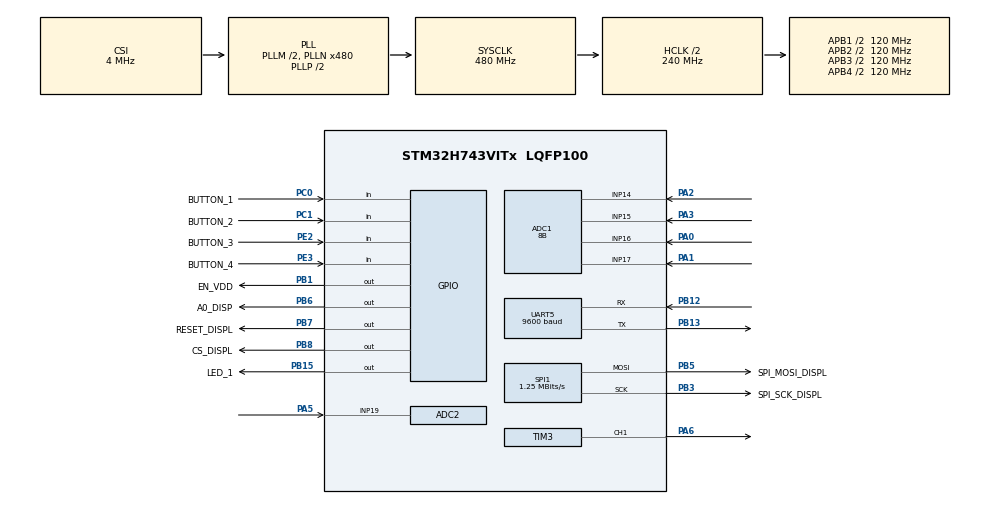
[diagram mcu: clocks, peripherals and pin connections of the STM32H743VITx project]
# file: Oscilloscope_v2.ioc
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ADC1.Channel-0\#ChannelRegularConversion=ADC_CHANNEL_14
ADC1.ClockPrescaler=ADC_CLOCK_ASYNC_DIV2
ADC1.ConversionDataManagement=ADC_CONVERSIONDATA_DMA_CIRCULAR
ADC1.Rank-0\#ChannelRegularConversion=1
ADC1.Resolution=ADC_RESOLUTION_8B
ADC1.SamplingTime-0\#ChannelRegularConversion=ADC_SAMPLETIME_1CYCLE_5
ADC1.master=1
ADC2.Channel-0\#ChannelRegularConversion=ADC_CHANNEL_19
ADC2.ClockPrescaler=ADC_CLOCK_ASYNC_DIV2
ADC2.ContinuousConvMode=ENABLE
ADC2.ConversionDataManagement=ADC_CONVERSIONDATA_DMA_ONESHOT
ADC2.NbrOfConversionFlag=1
ADC2.OffsetNumber-0\#ChannelRegularConversion=ADC_OFFSET_NONE
ADC2.OffsetSignedSaturation-0\#ChannelRegularConversion=DISABLE
ADC2.Rank-0\#ChannelRegularConversion=1
ADC2.Resolution=ADC_RESOLUTION_8B
ADC2.SamplingTime-0\#ChannelRegularConversion=ADC_SAMPLETIME_1CYCLE_5
Dma.ADC1.0.Direction=DMA_PERIPH_TO_MEMORY
Dma.ADC1.0.EventEnable=DISABLE
Dma.ADC1.0.FIFOMode=DMA_FIFOMODE_DISABLE
Dma.ADC1.0.Instance=DMA1_Stream0
Dma.ADC1.0.MemDataAlignment=DMA_MDATAALIGN_HALFWORD
Dma.ADC1.0.MemInc=DMA_MINC_ENABLE
Dma.ADC1.0.Mode=DMA_NORMAL
Dma.ADC1.0.PeriphDataAlignment=DMA_PDATAALIGN_HALFWORD
Dma.ADC1.0.PeriphInc=DMA_PINC_DISABLE
Dma.ADC1.0.Polarity=HAL_DMAMUX_REQ_GEN_RISING
Dma.ADC1.0.Priority=DMA_PRIORITY_LOW
Dma.ADC1.0.RequestNumber=1
Dma.ADC1.0.SignalID=NONE
Dma.ADC1.0.SyncEnable=DISABLE
Dma.ADC1.0.SyncPolarity=HAL_DMAMUX_SYNC_NO_EVENT
Dma.ADC1.0.SyncRequestNumber=1
Dma.ADC1.0.SyncSignalID=NONE
Dma.ADC2.2.Direction=DMA_PERIPH_TO_MEMORY
Dma.ADC2.2.EventEnable=DISABLE
Dma.ADC2.2.FIFOMode=DMA_FIFOMODE_DISABLE
Dma.ADC2.2.Instance=DMA1_Stream2
Dma.ADC2.2.MemDataAlignment=DMA_MDATAALIGN_HALFWORD
Dma.ADC2.2.MemInc=DMA_MINC_ENABLE
Dma.ADC2.2.Mode=DMA_NORMAL
Dma.ADC2.2.PeriphDataAlignment=DMA_PDATAALIGN_HALFWORD
Dma.ADC2.2.PeriphInc=DMA_PINC_DISABLE
Dma.ADC2.2.Polarity=HAL_DMAMUX_REQ_GEN_RISING
Dma.ADC2.2.Priority=DMA_PRIORITY_LOW
Dma.ADC2.2.RequestNumber=1
Dma.ADC2.2.SignalID=NONE
Dma.ADC2.2.SyncEnable=DISABLE
Dma.ADC2.2.SyncPolarity=HAL_DMAMUX_SYNC_NO_EVENT
Dma.ADC2.2.SyncRequestNumber=1
Dma.ADC2.2.SyncSignalID=NONE
Dma.Request0=ADC1
Dma.Request1=UART5_RX
Dma.Request2=ADC2
Dma.UART5_RX.1.Direction=DMA_PERIPH_TO_MEMORY
Dma.UART5_RX.1.EventEnable=DISABLE
Dma.UART5_RX.1.FIFOMode=DMA_FIFOMODE_DISABLE
Dma.UART5_RX.1.Instance=DMA1_Stream1
Dma.UART5_RX.1.MemDataAlignment=DMA_MDATAALIGN_BYTE
Dma.UART5_RX.1.MemInc=DMA_MINC_ENABLE
Dma.UART5_RX.1.Mode=DMA_NORMAL
Dma.UART5_RX.1.PeriphDataAlignment=DMA_PDATAALIGN_BYTE
Dma.UART5_RX.1.PeriphInc=DMA_PINC_DISABLE
Dma.UART5_RX.1.Polarity=HAL_DMAMUX_REQ_GEN_RISING
Dma.UART5_RX.1.Priority=DMA_PRIORITY_LOW
Dma.UART5_RX.1.RequestNumber=1
Dma.UART5_RX.1.SignalID=NONE
Dma.UART5_RX.1.SyncEnable=DISABLE
Dma.UART5_RX.1.SyncPolarity=HAL_DMAMUX_SYNC_NO_EVENT
Dma.UART5_RX.1.SyncRequestNumber=1
Dma.UART5_RX.1.SyncSignalID=NONE
Mcu.Family=STM32H7
Mcu.Name=STM32H743VITx
Mcu.Package=LQFP100
NVIC.ADC_IRQn=true\:0\:0\:false\:false\:true\:true\:true\:true
NVIC.DMA1_Stream0_IRQn=true\:0\:0\:false\:false\:true\:false\:true\:true
NVIC.DMA1_Stream1_IRQn=true\:0\:0\:false\:false\:true\:false\:true\:true
NVIC.DMA1_Stream2_IRQn=true\:0\:0\:false\:false\:true\:false\:true\:true
NVIC.PriorityGroup=NVIC_PRIORITYGROUP_4
NVIC.SPI1_IRQn=true\:0\:0\:false\:false\:true\:true\:true\:true
NVIC.UART5_IRQn=true\:0\:0\:false\:false\:true\:true\:true\:true
PA0.Mode=IN16-Single-Ended
PA0.Signal=ADC1_INP16
PA1.Mode=IN17-Single-Ended
PA1.Signal=ADC1_INP17
PA11.Signal=USB_OTG_FS_DM
PA12.Signal=USB_OTG_FS_DP
PA13\ (JTMS/SWDIO).Mode=Serial_Wire
PA13\ (JTMS/SWDIO).Signal=DEBUG_JTMS-SWDIO
PA14\ (JTCK/SWCLK).Mode=Serial_Wire
PA14\ (JTCK/SWCLK).Signal=DEBUG_JTCK-SWCLK
PA2.Signal=ADCx_INP14
PA3.Signal=ADCx_INP15
PA5.Signal=ADCx_INP19
PA6.Signal=S_TIM3_CH1
PB1.GPIO_Label=EN_VDD
PB1.Signal=GPIO_Output
PB12.Mode=Asynchronous
PB12.Signal=UART5_RX
PB13.Mode=Asynchronous
PB13.Signal=UART5_TX
PB15.GPIO_Label=LED_1
PB15.Signal=GPIO_Output
PB3\ (JTDO/TRACESWO).GPIO_Label=SPI_SCK_DISPL
PB3\ (JTDO/TRACESWO).Mode=TX_Only_Simplex_Unidirect_Master
PB3\ (JTDO/TRACESWO).Signal=SPI1_SCK
PB5.GPIO_Label=SPI_MOSI_DISPL
PB5.Mode=TX_Only_Simplex_Unidirect_Master
PB5.Signal=SPI1_MOSI
PB6.GPIO_Label=A0_DISP
PB6.Signal=GPIO_Output
PB7.GPIO_Label=RESET_DISPL
PB7.Signal=GPIO_Output
PB8.GPIO_Label=CS_DISPL
PB8.Signal=GPIO_Output
PC0.GPIO_Label=BUTTON_1
PC0.Signal=GPIO_Input
PC1.GPIO_Label=BUTTON_2
PC1.Signal=GPIO_Input
PE2.GPIO_Label=BUTTON_3
PE2.Signal=GPIO_Input
PE3.GPIO_Label=BUTTON_4
PE3.Signal=GPIO_Input
ProjectManager.HeapSize=0x200
ProjectManager.StackSize=0x400
ProjectManager.TargetToolchain=STM32CubeIDE
RCC.ADCFreq_Value=80000000
RCC.APB1Freq_Value=120000000
RCC.APB2Freq_Value=120000000
RCC.APB3Freq_Value=120000000
RCC.APB4Freq_Value=120000000
RCC.CortexFreq_Value=480000000
RCC.D1PPRE=RCC_APB3_DIV2
RCC.D2PPRE1=RCC_APB1_DIV2
RCC.D2PPRE2=RCC_APB2_DIV2
RCC.D3PPRE=RCC_APB4_DIV2
RCC.DIVM1=2
RCC.DIVM2=2
RCC.DIVM3=2
RCC.DIVN1=480
RCC.DIVN2=80
RCC.DIVN3=75
RCC.DIVQ2=4
RCC.DIVQ3=3
RCC.HCLKFreq_Value=240000000
RCC.HPRE=RCC_HCLK_DIV2
RCC.PLLSourceVirtual=RCC_PLLSOURCE_CSI
RCC.SPI123CLockSelection=RCC_SPI123CLKSOURCE_PLL2
RCC.SYSCLKFreq_VALUE=480000000
RCC.SYSCLKSource=RCC_SYSCLKSOURCE_PLLCLK
RCC.USART234578CLockSelection=RCC_USART234578CLKSOURCE_PLL3
RCC.USBFreq_Value=480000000
SH.ADCx_INP14.0=ADC1_INP14,IN14-Single-Ended
SH.ADCx_INP15.0=ADC1_INP15,IN15-Single-Ended
SH.ADCx_INP19.0=ADC2_INP19,IN19-Single-Ended
SH.S_TIM3_CH1.0=TIM3_CH1,PWM Generation1 CH1
SPI1.BaudRatePrescaler=SPI_BAUDRATEPRESCALER_64
SPI1.CalculateBaudRate=1.25 MBits/s
SPI1.DataSize=SPI_DATASIZE_8BIT
SPI1.Direction=SPI_DIRECTION_2LINES_TXONLY
SPI1.Mode=SPI_MODE_MASTER
SPI1.VirtualType=VM_MASTER
TIM3.Channel-PWM\ Generation1\ CH1=TIM_CHANNEL_1
UART5.BaudRate=9600
UART5.Parity=PARITY_EVEN
UART5.WordLength=WORDLENGTH_9B
VP_MEMORYMAP_VS_MEMORYMAP.Mode=CurAppReg
VP_TIM3_VS_ClockSourceINT.Mode=Internal
board=custom

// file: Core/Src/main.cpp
/* USER CODE BEGIN Header */
/**
  ******************************************************************************
  * @file           : main.c
  * @brief          : Main program body — Простой осциллограф
  ******************************************************************************
  */
/* USER CODE END Header */
#include "main.h"

/* USER CODE BEGIN Includes */
#include "AdcDma.hpp"
#include "Display.hpp"
#include "UartProtocol.hpp"
#include "Registers.hpp"
#include "st7735.h"
#include <cstdio>
#include <string.h>
#include "ButtonManager.hpp"
#include "Scanner.hpp"
#include "Oscilloscope.hpp"
#include "PotReader.hpp"
#include "Menu.hpp"              // ← ДОБАВЬТЕ ЭТУ СТРОКУ
/* USER CODE END Includes */

/* USER CODE BEGIN PD */
#define PI 3.14159265358979323846
#define ADC_BUFFER_SIZE 160
/* USER CODE END PD */

ADC_HandleTypeDef hadc1;
ADC_HandleTypeDef hadc2;
DMA_HandleTypeDef hdma_adc1;
DMA_HandleTypeDef hdma_adc2;

SPI_HandleTypeDef hspi1;
DMA_HandleTypeDef hdma_spi1_tx;

TIM_HandleTypeDef htim3;

UART_HandleTypeDef huart5;
DMA_HandleTypeDef hdma_uart5_rx;

/* USER CODE BEGIN PV */

// === МАССИВ ДЛЯ ОДИНОЧНОГО СКАНЕРА ===
uint16_t singleAdcBuffer[1024];
volatile bool singleAdcReady = false;

// === ОТЛАДОЧНЫЙ МАССИВ АЦП ===
uint16_t debugAdcBuffer[1024];
volatile bool debugAdcReady = false;

// === БУФЕРЫ АЦП ===
uint16_t adcBuffer[ADC_BUFFER_SIZE];   // Буфер детектора сигнала
uint16_t potBuffer[2];                  // Буфер потенциометров (A0, A1)

// === ОБЪЕКТЫ АЦП (создаются ДО остальных объектов!) ===
AdcDma adcDetector(&hadc2, &hdma_adc2, adcBuffer, ADC_BUFFER_SIZE);
AdcDma adcPots(&hadc1, &hdma_adc1, potBuffer, 2);
// === ОБЪЕКТЫ ===
UartProtocol uart(&huart5);
Display display(&hspi1, GPIOB, GPIO_PIN_8, GPIOB, GPIO_PIN_6, GPIOB, GPIO_PIN_7);

// === МЕНЕДЖЕР КНОПОК (исправленный порядок) ===
ButtonManager buttons(BUTTON_1_GPIO_Port, BUTTON_1_Pin,   // Кнопка 1 = физическая кнопка 1 (режим)
                      BUTTON_2_GPIO_Port, BUTTON_2_Pin,   // Кнопка 2 = физическая кнопка 2 (рескан)
                      BUTTON_3_GPIO_Port, BUTTON_3_Pin,   // Кнопка 3 = физическая кнопка 3 (меню)
                      BUTTON_4_GPIO_Port, BUTTON_4_Pin);  // Кнопка 4 = физическая кнопка 4 (старт/стоп)
Scanner scanner(&uart, &hadc2, adcBuffer, ADC_BUFFER_SIZE);

Oscilloscope oscilloscope(&adcDetector);
PotReader potReader(&adcPots);
Menu menu(&display, &buttons);
// === ФЛАГ�? ===
volatile uint8_t flagAdc = 0;
uint8_t currentMode = 0;
float fixedFrequency = Scanner::DEFAULT_CENTER_MHZ;
/* USER CODE END PV */

void SystemClock_Config(void);
void PeriphCommonClock_Config(void);
static void MX_GPIO_Init(void);
static void MX_DMA_Init(void);
static void MX_ADC1_Init(void);
static void MX_ADC2_Init(void);
static void MX_SPI1_Init(void);
static void MX_UART5_Init(void);
static void MX_TIM3_Init(void);
/* USER CODE BEGIN PFP */
void setOffset(uint8_t value);

void setOffset(uint8_t value);
/* USER CODE END PFP */

/* USER CODE BEGIN 0 */

// === КОЛБЭК�? UART ===
void HAL_UART_TxCpltCallback(UART_HandleTypeDef *huart)
{
    if (huart->Instance == UART5) {
        HAL_GPIO_TogglePin(LED_1_GPIO_Port, LED_1_Pin);  // ← Мигание при передаче
        UartProtocol::txCompleteCallback(huart);
    }
}

void HAL_UART_RxCpltCallback(UART_HandleTypeDef *huart)
{
    if (huart->Instance == UART5) {
        HAL_GPIO_TogglePin(LED_1_GPIO_Port, LED_1_Pin);  // ← Мигание при приёме
        UartProtocol::rxCompleteCallback(huart);
    }
}

void HAL_UART_ErrorCallback(UART_HandleTypeDef *huart)
{
    if (huart->Instance == UART5) {
        __HAL_UART_CLEAR_FLAG(huart, UART_FLAG_PE | UART_FLAG_FE |
                              UART_FLAG_NE | UART_FLAG_ORE);
        UartProtocol::errorCallback(huart);
    }
}

/*// === КОЛБЭК АЦП ===
void HAL_ADC_ConvCpltCallback(ADC_HandleTypeDef* hadc) {
	// ПРАВ�?ЛЬНО:
	AdcDma::convCpltCallback(hadc);
}*/
void HAL_ADC_ConvCpltCallback(ADC_HandleTypeDef* hadc) {
    if (hadc->Instance == ADC2) {
        debugAdcReady = true;
        singleAdcReady = true;  // ← Добавили для одиночного сканера
    }
    AdcDma::convCpltCallback(hadc);
}
// === УСТАНОВКА УРОВНЯ СМЕЩЕН�?Я ОУ ===
void setOffset(uint8_t value) {
    __HAL_TIM_SET_COMPARE(&htim3, TIM_CHANNEL_1, value);
}

/* USER CODE END 0 */

int main(void)
{

  /* MCU Configuration--------------------------------------------------------*/

  /* Reset of all peripherals, Initializes the Flash interface and the Systick. */
  HAL_Init();

  /* Configure the system clock */
  SystemClock_Config();

/* Configure the peripherals common clocks */
  PeriphCommonClock_Config();

  /* Initialize all configured peripherals */
  MX_GPIO_Init();
  MX_DMA_Init();
  MX_ADC1_Init();
  MX_ADC2_Init();
  MX_SPI1_Init();
  MX_UART5_Init();
  MX_TIM3_Init();
  /* USER CODE BEGIN 2 */
    HAL_Delay(500);
    display.init();
    display.clear(COLOR_WHITE);

    // === ЗАПУСК Ш�?М ДЛЯ СМЕЩЕН�?Я ОУ ===
    HAL_TIM_PWM_Start(&htim3, TIM_CHANNEL_1);
    setOffset(128);

    // === КАЛ�?БРОВКА АЦП ===
    HAL_ADCEx_Calibration_Start(&hadc2, ADC_CALIB_OFFSET, ADC_SINGLE_ENDED);
    // === ЗАПУСК НЕПРЕРЫВНОГО ЧТЕН�?Я ПОТЕНЦ�?ОМЕТРОВ ===
    adcPots.startContinuousCapture();
    potReader.setFilterStrength(1);  // Среднее сглаживание
    HAL_Delay(10);

    // === НАСТРОЙКА РЕГ�?СТРОВ ===
    setDefaultRegisters();

    // === ДАЁМ ЗОНДУ ВРЕМЯ ПРОСНУТЬСЯ ===
    display.drawString(0, 0, "Probe waking up...", COLOR_BLACK, COLOR_WHITE);
    HAL_Delay(1000);

    // === УСТАНОВКА НАЧАЛЬНОЙ ЧАСТОТЫ ===
    uart.setFrequency(Scanner::DEFAULT_CENTER_MHZ);
    uart.setRfOutput(true);

    // === ГОТОВО ===
    display.clear(COLOR_WHITE);
    display.drawString(0, 0, "INIT COMPLETE", COLOR_GREEN, COLOR_WHITE);
    display.drawString(0, 10, "F: 900MHz", COLOR_BLACK, COLOR_WHITE);
    display.drawString(0, 20, "Mode: Oscilloscope", COLOR_BLACK, COLOR_WHITE);
    HAL_Delay(1000);
  /* USER CODE END 2 */

  /* Infinite loop */
  /* USER CODE BEGIN WHILE */
    char str[64];
    static uint32_t lastTextUpdate = 0;

    // === ЦИКЛ ===
    // === ЦИКЛ ===
    while (1) {
        uint32_t now = HAL_GetTick();

        // === ОБНОВЛЯЕМ КНОПКИ ===
        buttons.update();

        // === ОБРАБОТКА МЕНЮ ===
        if (menu.isVisible()) {
            menu.update(currentMode);
            continue;  // Пропускаем всё остальное, пока меню открыто
        }

        // === Кнопка 3: Открыть меню ===
        ButtonManager::ButtonEvent evt3 = buttons.getEvent(ButtonManager::BTN3);
        if (evt3 == ButtonManager::PRESSED || evt3 == ButtonManager::LONG_PRESS) {
            menu.show();
            continue;
        }

        // === Кнопка 1: Переключение режима (3 режима) ===
        ButtonManager::ButtonEvent evt1 = buttons.getEvent(ButtonManager::BTN1);
        if (evt1 == ButtonManager::PRESSED) {
            currentMode = (currentMode + 1) % 3;  // 0->1->2->0
            display.clear(COLOR_WHITE);

            // Сбрасываем состояния
            if (currentMode == 0) {
                display.drawString(0, 0, "OSCILLOSCOPE", COLOR_BLACK, COLOR_WHITE);
            } else if (currentMode == 1) {
                display.drawString(0, 0, "SCANNER", COLOR_BLACK, COLOR_WHITE);
                scanner.start();  // ← АВТОЗАПУСК сканера
            } else {
                display.drawString(0, 0, "SINGLE SCAN", COLOR_BLACK, COLOR_WHITE);
            }
        }

        // ================================================================
        // === РЕЖИМ 0: ОСЦИЛЛОГРАФ ===
        // ================================================================
        if (currentMode == 0) {
            oscilloscope.capture();

            display.drawOscillogramFast(oscilloscope.getBuffer(),
                                         oscilloscope.getBufferSize(),
                                         COLOR_RED, COLOR_WHITE);

            if (now - lastTextUpdate >= 500) {
                lastTextUpdate = now;

                display.clearArea(0, 0, 160, 50, COLOR_WHITE);

                sprintf(str, "AVG:%d AMP:%d", oscilloscope.getAverage(), oscilloscope.getAmplitude());
                display.drawString(0, 0, str, COLOR_BLACK, COLOR_WHITE);

                sprintf(str, "MIN:%d MAX:%d", oscilloscope.getMin(), oscilloscope.getMax());
                display.drawString(0, 10, str, COLOR_BLACK, COLOR_WHITE);

                sprintf(str, "F:%.1fMHz", fixedFrequency);
                display.drawString(0, 20, str, COLOR_BLACK, COLOR_WHITE);

                display.drawString(0, 40, "OSC MODE", COLOR_GREEN, COLOR_WHITE);
            }
        }

        // ================================================================
        // === РЕЖИМ 1: СКАНЕР (с перестройкой частоты) ===
        // ================================================================
        else if (currentMode == 1) {
            scanner.update();

            // Получаем текущее состояние сканера
            Scanner::State state = scanner.getState();

            // === Параметры графика ===
            const uint16_t graphTop = 20;
            const uint16_t graphBottom = 126;
            const uint16_t graphHeight = graphBottom - graphTop;

            if (state == Scanner::SCANNING) {
                // Рисуем текущий столбик
                uint16_t currentIdx = scanner.getCurrentIndex();
                if (currentIdx > 0) {
                    uint16_t level = scanner.getResults()[currentIdx - 1];

                    uint16_t maxLevel = scanner.getMaxLevel();
                    uint16_t barHeight = 0;
                    if (maxLevel > 0) {
                        barHeight = (uint32_t)level * graphHeight / maxLevel;
                    }
                    if (barHeight > graphHeight) barHeight = graphHeight;

                    // Рисуем столбик
                    uint16_t x = currentIdx - 1;
                    for (uint16_t y = 0; y < barHeight; y++) {
                        display.drawPixel(x, graphBottom - y, COLOR_RED);
                    }

                    // Соединяем линией
                    if (currentIdx > 1) {
                        uint16_t prevLevel = scanner.getResults()[currentIdx - 2];
                        uint16_t prevBarHeight = 0;
                        if (maxLevel > 0) {
                            prevBarHeight = (uint32_t)prevLevel * graphHeight / maxLevel;
                        }
                        if (prevBarHeight > graphHeight) prevBarHeight = graphHeight;

                        uint16_t prevY = graphBottom - prevBarHeight;
                        uint16_t currY = graphBottom - barHeight;
                        display.drawLine(x - 1, prevY, x, currY, COLOR_BLUE, 1);
                    }
                }

                // Выводим прогресс
                if (now - lastTextUpdate >= 200) {
                    lastTextUpdate = now;
                    display.clearArea(0, 0, 160, 50, COLOR_WHITE);

                    uint16_t currentIdx = scanner.getCurrentIndex();
                    sprintf(str, "SCAN %3d%%", (currentIdx * 100) / 160);
                    display.drawString(0, 0, str, COLOR_BLACK, COLOR_WHITE);

                    sprintf(str, "F:%.1fMHz", scanner.getCurrentFrequency());
                    display.drawString(0, 10, str, COLOR_BLACK, COLOR_WHITE);

                    uint16_t level = (currentIdx > 0) ? scanner.getResults()[currentIdx - 1] : 0;
                    sprintf(str, "LVL:%4d MAX:%4d", level, scanner.getMaxLevel());
                    display.drawString(0, 20, str, COLOR_BLUE, COLOR_WHITE);

                    display.drawString(0, 40, "SCANNING...", COLOR_GREEN, COLOR_WHITE);
                }
            }
            else if (state == Scanner::FINISHED) {
                // Сканирование завершено
                if (now - lastTextUpdate >= 1000) {
                    lastTextUpdate = now;
                    display.clearArea(0, 0, 160, 50, COLOR_WHITE);

                    float peakFreq = scanner.getPeakFrequency();
                    sprintf(str, "PEAK:%.1fMHz", peakFreq);
                    display.drawString(0, 0, str, COLOR_RED, COLOR_WHITE);

                    sprintf(str, "MaxLevel:%d", scanner.getMaxLevel());
                    display.drawString(0, 10, str, COLOR_BLACK, COLOR_WHITE);

                    display.drawString(0, 20, "SCAN DONE", COLOR_GREEN, COLOR_WHITE);
                    display.drawString(0, 40, "BTN2:Rescan", COLOR_BLUE, COLOR_WHITE);
                }
            }
            else {
                // Ожидание старта
                if (now - lastTextUpdate >= 500) {
                    lastTextUpdate = now;
                    display.clearArea(0, 0, 160, 50, COLOR_WHITE);

                    display.drawString(0, 0, "SCANNER READY", COLOR_BLACK, COLOR_WHITE);

                    sprintf(str, "Center:137.5MHz");
                    display.drawString(0, 10, str, COLOR_BLACK, COLOR_WHITE);

                    sprintf(str, "Span:160MHz");
                    display.drawString(0, 20, str, COLOR_BLACK, COLOR_WHITE);

                    display.drawString(0, 40, "BTN4:Start", COLOR_GREEN, COLOR_WHITE);
                }
            }

            // Кнопка 2: Рескан
            ButtonManager::ButtonEvent evt2 = buttons.getEvent(ButtonManager::BTN2);
            if (evt2 == ButtonManager::PRESSED) {
                scanner.start();
            }

            // Кнопка 4: Старт/Стоп/Выбор пика
            ButtonManager::ButtonEvent evt4 = buttons.getEvent(ButtonManager::BTN4);
            if (evt4 == ButtonManager::PRESSED) {
                Scanner::State state = scanner.getState();
                if (state == Scanner::IDLE || state == Scanner::FINISHED) {
                    scanner.start();
                } else if (state == Scanner::SCANNING) {
                    scanner.stop();
                }
            }
        }

        // ================================================================
        // === РЕЖИМ 2: ОДИНОЧНЫЙ СКАНЕР (фиксированная частота) ===
        // ================================================================
        else if (currentMode == 2) {
            // === Устанавливаем частоту один раз ===
            static bool singleFreqSet = false;
            static bool singleAdcStarted = false;
            static uint16_t singleLastBarHeight = 0;

            if (!singleFreqSet) {
                uart.setFrequency(1000.0);  // Фиксированная частота 1000 МГц
                uart.setRfOutput(true);
                singleFreqSet = true;
                singleAdcStarted = false;
                singleLastBarHeight = 0;
                display.clear(COLOR_WHITE);
                display.drawString(0, 0, "SINGLE 1000MHz", COLOR_BLACK, COLOR_WHITE);
            }

            // === Запускаем АЦП через DMA ===
            if (!singleAdcStarted) {
                singleAdcReady = false;
                HAL_ADC_Stop_DMA(&hadc2);
                HAL_Delay(1);
                HAL_ADC_Start_DMA(&hadc2, (uint32_t*)singleAdcBuffer, 1024);
                singleAdcStarted = true;
            }

            // === Ждём завершения ===
            if (singleAdcReady) {
                singleAdcReady = false;
                singleAdcStarted = false;

                // === Ищем максимум в массиве 1024 ===
                uint16_t maxVal = 0;
                for (uint16_t j = 0; j < 1024; j++) {
                    if (singleAdcBuffer[j] > maxVal) {
                        maxVal = singleAdcBuffer[j];
                    }
                }

                // === Высота столбика ===
                uint16_t barHeight = maxVal;
                if (barHeight > 100) barHeight = 100;

                // === Оптимизация: стираем только старый столбик ===
                const uint16_t centerX = 80;
                const uint16_t graphBottom = 120;
                const uint16_t maxWidth = 3;

                if (barHeight != singleLastBarHeight) {
                    // Стираем старый столбик
                    display.fillRectFast(centerX - maxWidth, graphBottom - singleLastBarHeight,
                                         maxWidth * 2, singleLastBarHeight, COLOR_WHITE);

                    // Рисуем новый столбик
                    display.fillRectFast(centerX - 1, graphBottom - barHeight, 2, barHeight, COLOR_RED);

                    singleLastBarHeight = barHeight;

                    // Выводим значения
                    char dbgStr[64];
                    sprintf(dbgStr, "MAX: %d", maxVal);
                    display.drawString(0, 10, dbgStr, COLOR_BLUE, COLOR_WHITE);

                    sprintf(dbgStr, "BAR: %d", barHeight);
                    display.drawString(70, 10, dbgStr, COLOR_BLUE, COLOR_WHITE);
                }
            }

            // Текст внизу
            if (now - lastTextUpdate >= 500) {
                lastTextUpdate = now;
                display.drawString(0, 40, "SINGLE MODE", COLOR_GREEN, COLOR_WHITE);
            }
        }
    }
    /* USER CODE END WHILE */

}

void SystemClock_Config(void)
{
  RCC_OscInitTypeDef RCC_OscInitStruct = {0};
  RCC_ClkInitTypeDef RCC_ClkInitStruct = {0};

  /** Supply configuration update enable
  */
  HAL_PWREx_ConfigSupply(PWR_LDO_SUPPLY);

  /** Configure the main internal regulator output voltage
  */
  __HAL_PWR_VOLTAGESCALING_CONFIG(PWR_REGULATOR_VOLTAGE_SCALE1);

  while(!__HAL_PWR_GET_FLAG(PWR_FLAG_VOSRDY)) {}

  __HAL_RCC_SYSCFG_CLK_ENABLE();
  __HAL_PWR_VOLTAGESCALING_CONFIG(PWR_REGULATOR_VOLTAGE_SCALE0);

  while(!__HAL_PWR_GET_FLAG(PWR_FLAG_VOSRDY)) {}

  /** Initializes the RCC Oscillators according to the specified parameters
  * in the RCC_OscInitTypeDef structure.
  */
  RCC_OscInitStruct.OscillatorType = RCC_OSCILLATORTYPE_CSI;
  RCC_OscInitStruct.CSIState = RCC_CSI_ON;
  RCC_OscInitStruct.CSICalibrationValue = RCC_CSICALIBRATION_DEFAULT;
  RCC_OscInitStruct.PLL.PLLState = RCC_PLL_ON;
  RCC_OscInitStruct.PLL.PLLSource = RCC_PLLSOURCE_CSI;
  RCC_OscInitStruct.PLL.PLLM = 2;
  RCC_OscInitStruct.PLL.PLLN = 480;
  RCC_OscInitStruct.PLL.PLLP = 2;
  RCC_OscInitStruct.PLL.PLLQ = 2;
  RCC_OscInitStruct.PLL.PLLR = 2;
  RCC_OscInitStruct.PLL.PLLRGE = RCC_PLL1VCIRANGE_1;
  RCC_OscInitStruct.PLL.PLLVCOSEL = RCC_PLL1VCOWIDE;
  RCC_OscInitStruct.PLL.PLLFRACN = 0;
  if (HAL_RCC_OscConfig(&RCC_OscInitStruct) != HAL_OK)
  {
    Error_Handler();
  }

  /** Initializes the CPU, AHB and APB buses clocks
  */
  RCC_ClkInitStruct.ClockType = RCC_CLOCKTYPE_HCLK|RCC_CLOCKTYPE_SYSCLK
                              |RCC_CLOCKTYPE_PCLK1|RCC_CLOCKTYPE_PCLK2
                              |RCC_CLOCKTYPE_D3PCLK1|RCC_CLOCKTYPE_D1PCLK1;
  RCC_ClkInitStruct.SYSCLKSource = RCC_SYSCLKSOURCE_PLLCLK;
  RCC_ClkInitStruct.SYSCLKDivider = RCC_SYSCLK_DIV1;
  RCC_ClkInitStruct.AHBCLKDivider = RCC_HCLK_DIV2;
  RCC_ClkInitStruct.APB3CLKDivider = RCC_APB3_DIV2;
  RCC_ClkInitStruct.APB1CLKDivider = RCC_APB1_DIV2;
  RCC_ClkInitStruct.APB2CLKDivider = RCC_APB2_DIV2;
  RCC_ClkInitStruct.APB4CLKDivider = RCC_APB4_DIV2;

  if (HAL_RCC_ClockConfig(&RCC_ClkInitStruct, FLASH_LATENCY_4) != HAL_OK)
  {
    Error_Handler();
  }
}

void PeriphCommonClock_Config(void)
{
  RCC_PeriphCLKInitTypeDef PeriphClkInitStruct = {0};

  /** Initializes the peripherals clock
  */
  PeriphClkInitStruct.PeriphClockSelection = RCC_PERIPHCLK_ADC|RCC_PERIPHCLK_SPI1;
  PeriphClkInitStruct.PLL2.PLL2M = 2;
  PeriphClkInitStruct.PLL2.PLL2N = 80;
  PeriphClkInitStruct.PLL2.PLL2P = 2;
  PeriphClkInitStruct.PLL2.PLL2Q = 4;
  PeriphClkInitStruct.PLL2.PLL2R = 2;
  PeriphClkInitStruct.PLL2.PLL2RGE = RCC_PLL2VCIRANGE_1;
  PeriphClkInitStruct.PLL2.PLL2VCOSEL = RCC_PLL2VCOMEDIUM;
  PeriphClkInitStruct.PLL2.PLL2FRACN = 0;
  PeriphClkInitStruct.Spi123ClockSelection = RCC_SPI123CLKSOURCE_PLL2;
  PeriphClkInitStruct.AdcClockSelection = RCC_ADCCLKSOURCE_PLL2;
  if (HAL_RCCEx_PeriphCLKConfig(&PeriphClkInitStruct) != HAL_OK)
  {
    Error_Handler();
  }
}

static void MX_ADC1_Init(void)
{

  ADC_MultiModeTypeDef multimode = {0};
  ADC_ChannelConfTypeDef sConfig = {0};

  /** Common config
  */
  hadc1.Instance = ADC1;
  hadc1.Init.ClockPrescaler = ADC_CLOCK_ASYNC_DIV2;
  hadc1.Init.Resolution = ADC_RESOLUTION_12B;
  hadc1.Init.ScanConvMode = ADC_SCAN_ENABLE;
  hadc1.Init.EOCSelection = ADC_EOC_SEQ_CONV;
  hadc1.Init.LowPowerAutoWait = DISABLE;
  hadc1.Init.ContinuousConvMode = ENABLE;
  hadc1.Init.NbrOfConversion = 2;
  hadc1.Init.DiscontinuousConvMode = DISABLE;
  hadc1.Init.ExternalTrigConv = ADC_SOFTWARE_START;
  hadc1.Init.ExternalTrigConvEdge = ADC_EXTERNALTRIGCONVEDGE_NONE;
  hadc1.Init.ConversionDataManagement = ADC_CONVERSIONDATA_DMA_CIRCULAR;
  hadc1.Init.Overrun = ADC_OVR_DATA_PRESERVED;
  hadc1.Init.LeftBitShift = ADC_LEFTBITSHIFT_NONE;
  hadc1.Init.OversamplingMode = DISABLE;
  if (HAL_ADC_Init(&hadc1) != HAL_OK)
  {
    Error_Handler();
  }

  /** Configure the ADC multi-mode
  */
  multimode.Mode = ADC_MODE_INDEPENDENT;
  if (HAL_ADCEx_MultiModeConfigChannel(&hadc1, &multimode) != HAL_OK)
  {
    Error_Handler();
  }

  /** Configure Regular Channel
  */
  sConfig.Channel = ADC_CHANNEL_16;
  sConfig.Rank = ADC_REGULAR_RANK_1;
  sConfig.SamplingTime = ADC_SAMPLETIME_8CYCLES_5;
  sConfig.SingleDiff = ADC_SINGLE_ENDED;
  sConfig.OffsetNumber = ADC_OFFSET_NONE;
  sConfig.Offset = 0;
  if (HAL_ADC_ConfigChannel(&hadc1, &sConfig) != HAL_OK)
  {
    Error_Handler();
  }

  /** Configure Regular Channel
  */
  sConfig.Channel = ADC_CHANNEL_15;
  sConfig.Rank = ADC_REGULAR_RANK_2;
  sConfig.OffsetSignedSaturation = DISABLE;
  if (HAL_ADC_ConfigChannel(&hadc1, &sConfig) != HAL_OK)
  {
    Error_Handler();
  }

}

static void MX_ADC2_Init(void)
{

  ADC_ChannelConfTypeDef sConfig = {0};

  /** Common config
  */
  hadc2.Instance = ADC2;
  hadc2.Init.ClockPrescaler = ADC_CLOCK_ASYNC_DIV2;
  hadc2.Init.Resolution = ADC_RESOLUTION_8B;
  hadc2.Init.ScanConvMode = ADC_SCAN_DISABLE;
  hadc2.Init.EOCSelection = ADC_EOC_SINGLE_CONV;
  hadc2.Init.LowPowerAutoWait = DISABLE;
  hadc2.Init.ContinuousConvMode = ENABLE;
  hadc2.Init.NbrOfConversion = 1;
  hadc2.Init.DiscontinuousConvMode = DISABLE;
  hadc2.Init.ExternalTrigConv = ADC_SOFTWARE_START;
  hadc2.Init.ExternalTrigConvEdge = ADC_EXTERNALTRIGCONVEDGE_NONE;
  hadc2.Init.ConversionDataManagement = ADC_CONVERSIONDATA_DMA_CIRCULAR;
  hadc2.Init.Overrun = ADC_OVR_DATA_PRESERVED;
  hadc2.Init.LeftBitShift = ADC_LEFTBITSHIFT_NONE;
  hadc2.Init.OversamplingMode = DISABLE;
  if (HAL_ADC_Init(&hadc2) != HAL_OK)
  {
    Error_Handler();
  }

  /** Configure Regular Channel
  */
  sConfig.Channel = ADC_CHANNEL_19;
  sConfig.Rank = ADC_REGULAR_RANK_1;
  sConfig.SamplingTime = ADC_SAMPLETIME_1CYCLE_5;
  sConfig.SingleDiff = ADC_SINGLE_ENDED;
  sConfig.OffsetNumber = ADC_OFFSET_NONE;
  sConfig.Offset = 0;
  sConfig.OffsetSignedSaturation = DISABLE;
  if (HAL_ADC_ConfigChannel(&hadc2, &sConfig) != HAL_OK)
  {
    Error_Handler();
  }

}

static void MX_SPI1_Init(void)
{

  /* SPI1 parameter configuration*/
  hspi1.Instance = SPI1;
  hspi1.Init.Mode = SPI_MODE_MASTER;
  hspi1.Init.Direction = SPI_DIRECTION_2LINES_TXONLY;
  hspi1.Init.DataSize = SPI_DATASIZE_8BIT;
  hspi1.Init.CLKPolarity = SPI_POLARITY_LOW;
  hspi1.Init.CLKPhase = SPI_PHASE_1EDGE;
  hspi1.Init.NSS = SPI_NSS_SOFT;
  hspi1.Init.BaudRatePrescaler = SPI_BAUDRATEPRESCALER_64;
  hspi1.Init.FirstBit = SPI_FIRSTBIT_MSB;
  hspi1.Init.TIMode = SPI_TIMODE_DISABLE;
  hspi1.Init.CRCCalculation = SPI_CRCCALCULATION_DISABLE;
  hspi1.Init.CRCPolynomial = 0x0;
  hspi1.Init.NSSPMode = SPI_NSS_PULSE_ENABLE;
  hspi1.Init.NSSPolarity = SPI_NSS_POLARITY_LOW;
  hspi1.Init.FifoThreshold = SPI_FIFO_THRESHOLD_01DATA;
  hspi1.Init.TxCRCInitializationPattern = SPI_CRC_INITIALIZATION_ALL_ZERO_PATTERN;
  hspi1.Init.RxCRCInitializationPattern = SPI_CRC_INITIALIZATION_ALL_ZERO_PATTERN;
  hspi1.Init.MasterSSIdleness = SPI_MASTER_SS_IDLENESS_00CYCLE;
  hspi1.Init.MasterInterDataIdleness = SPI_MASTER_INTERDATA_IDLENESS_00CYCLE;
  hspi1.Init.MasterReceiverAutoSusp = SPI_MASTER_RX_AUTOSUSP_DISABLE;
  hspi1.Init.MasterKeepIOState = SPI_MASTER_KEEP_IO_STATE_DISABLE;
  hspi1.Init.IOSwap = SPI_IO_SWAP_DISABLE;
  if (HAL_SPI_Init(&hspi1) != HAL_OK)
  {
    Error_Handler();
  }

}

static void MX_TIM3_Init(void)
{

  TIM_ClockConfigTypeDef sClockSourceConfig = {0};
  TIM_MasterConfigTypeDef sMasterConfig = {0};
  TIM_OC_InitTypeDef sConfigOC = {0};

  htim3.Instance = TIM3;
  htim3.Init.Prescaler = 0;
  htim3.Init.CounterMode = TIM_COUNTERMODE_UP;
  htim3.Init.Period = 255;
  htim3.Init.ClockDivision = TIM_CLOCKDIVISION_DIV1;
  htim3.Init.AutoReloadPreload = TIM_AUTORELOAD_PRELOAD_DISABLE;
  if (HAL_TIM_Base_Init(&htim3) != HAL_OK)
  {
    Error_Handler();
  }
  sClockSourceConfig.ClockSource = TIM_CLOCKSOURCE_INTERNAL;
  if (HAL_TIM_ConfigClockSource(&htim3, &sClockSourceConfig) != HAL_OK)
  {
    Error_Handler();
  }
  if (HAL_TIM_PWM_Init(&htim3) != HAL_OK)
  {
    Error_Handler();
  }
  sMasterConfig.MasterOutputTrigger = TIM_TRGO_RESET;
  sMasterConfig.MasterSlaveMode = TIM_MASTERSLAVEMODE_DISABLE;
  if (HAL_TIMEx_MasterConfigSynchronization(&htim3, &sMasterConfig) != HAL_OK)
  {
    Error_Handler();
  }
  sConfigOC.OCMode = TIM_OCMODE_PWM1;
  sConfigOC.Pulse = 0;
  sConfigOC.OCPolarity = TIM_OCPOLARITY_HIGH;
  sConfigOC.OCFastMode = TIM_OCFAST_DISABLE;
  if (HAL_TIM_PWM_ConfigChannel(&htim3, &sConfigOC, TIM_CHANNEL_1) != HAL_OK)
  {
    Error_Handler();
  }
  HAL_TIM_MspPostInit(&htim3);

}

static void MX_UART5_Init(void)
{

  huart5.Instance = UART5;
  huart5.Init.BaudRate = 9600;
  huart5.Init.WordLength = UART_WORDLENGTH_8B;
  huart5.Init.StopBits = UART_STOPBITS_1;
  huart5.Init.Parity = UART_PARITY_EVEN;
  huart5.Init.Mode = UART_MODE_TX_RX;
  huart5.Init.HwFlowCtl = UART_HWCONTROL_NONE;
  huart5.Init.OverSampling = UART_OVERSAMPLING_16;
  huart5.Init.OneBitSampling = UART_ONE_BIT_SAMPLE_DISABLE;
  huart5.Init.ClockPrescaler = UART_PRESCALER_DIV1;
  huart5.AdvancedInit.AdvFeatureInit = UART_ADVFEATURE_NO_INIT;
  if (HAL_UART_Init(&huart5) != HAL_OK)
  {
    Error_Handler();
  }
  if (HAL_UARTEx_SetTxFifoThreshold(&huart5, UART_TXFIFO_THRESHOLD_1_8) != HAL_OK)
  {
    Error_Handler();
  }
  if (HAL_UARTEx_SetRxFifoThreshold(&huart5, UART_RXFIFO_THRESHOLD_1_8) != HAL_OK)
  {
    Error_Handler();
  }
  if (HAL_UARTEx_DisableFifoMode(&huart5) != HAL_OK)
  {
    Error_Handler();
  }

}

static void MX_DMA_Init(void)
{

  /* DMA controller clock enable */
  __HAL_RCC_DMA1_CLK_ENABLE();

  /* DMA interrupt init */
  /* DMA1_Stream0_IRQn interrupt configuration */
  HAL_NVIC_SetPriority(DMA1_Stream0_IRQn, 0, 0);
  HAL_NVIC_EnableIRQ(DMA1_Stream0_IRQn);
  /* DMA1_Stream1_IRQn interrupt configuration */
  HAL_NVIC_SetPriority(DMA1_Stream1_IRQn, 0, 0);
  HAL_NVIC_EnableIRQ(DMA1_Stream1_IRQn);
  /* DMA1_Stream2_IRQn interrupt configuration */
  HAL_NVIC_SetPriority(DMA1_Stream2_IRQn, 0, 0);
  HAL_NVIC_EnableIRQ(DMA1_Stream2_IRQn);
  /* DMA1_Stream3_IRQn interrupt configuration */
  HAL_NVIC_SetPriority(DMA1_Stream3_IRQn, 0, 0);
  HAL_NVIC_EnableIRQ(DMA1_Stream3_IRQn);

}

static void MX_GPIO_Init(void)
{
  LL_GPIO_InitTypeDef GPIO_InitStruct = {0};

  /* GPIO Ports Clock Enable */
  LL_AHB4_GRP1_EnableClock(LL_AHB4_GRP1_PERIPH_GPIOE);
  LL_AHB4_GRP1_EnableClock(LL_AHB4_GRP1_PERIPH_GPIOC);
  LL_AHB4_GRP1_EnableClock(LL_AHB4_GRP1_PERIPH_GPIOA);
  LL_AHB4_GRP1_EnableClock(LL_AHB4_GRP1_PERIPH_GPIOB);

  /**/
  LL_GPIO_ResetOutputPin(GPIOB, EN_VDD_Pin|LED_1_Pin|A0_DISP_Pin|RESET_DISPL_Pin
                          |CS_DISPL_Pin);

  /**/
  GPIO_InitStruct.Pin = BUTTON_4_Pin|BUTTON_3_Pin;
  GPIO_InitStruct.Mode = LL_GPIO_MODE_INPUT;
  GPIO_InitStruct.Pull = LL_GPIO_PULL_NO;
  LL_GPIO_Init(GPIOE, &GPIO_InitStruct);

  /**/
  GPIO_InitStruct.Pin = BUTTON_2_Pin|BUTTON_1_Pin;
  GPIO_InitStruct.Mode = LL_GPIO_MODE_INPUT;
  GPIO_InitStruct.Pull = LL_GPIO_PULL_NO;
  LL_GPIO_Init(GPIOC, &GPIO_InitStruct);

  /**/
  GPIO_InitStruct.Pin = EN_VDD_Pin|LED_1_Pin|A0_DISP_Pin|RESET_DISPL_Pin
                          |CS_DISPL_Pin;
  GPIO_InitStruct.Mode = LL_GPIO_MODE_OUTPUT;
  GPIO_InitStruct.Speed = LL_GPIO_SPEED_FREQ_LOW;
  GPIO_InitStruct.OutputType = LL_GPIO_OUTPUT_PUSHPULL;
  GPIO_InitStruct.Pull = LL_GPIO_PULL_NO;
  LL_GPIO_Init(GPIOB, &GPIO_InitStruct);

  /**/
  GPIO_InitStruct.Pin = LL_GPIO_PIN_11|LL_GPIO_PIN_12;
  GPIO_InitStruct.Mode = LL_GPIO_MODE_ALTERNATE;
  GPIO_InitStruct.Speed = LL_GPIO_SPEED_FREQ_LOW;
  GPIO_InitStruct.OutputType = LL_GPIO_OUTPUT_PUSHPULL;
  GPIO_InitStruct.Pull = LL_GPIO_PULL_NO;
  GPIO_InitStruct.Alternate = LL_GPIO_AF_10;
  LL_GPIO_Init(GPIOA, &GPIO_InitStruct);

}

void Error_Handler(void)
{
  __disable_irq();
  while (1)
  {
  }
}
